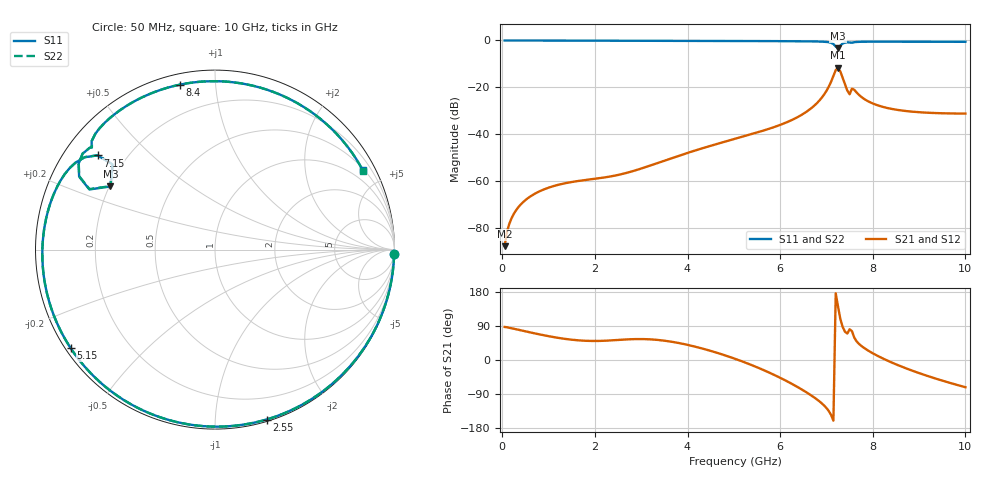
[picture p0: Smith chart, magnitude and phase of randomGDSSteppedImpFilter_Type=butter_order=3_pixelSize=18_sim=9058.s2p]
! freq	dB(S11)	phase(S11)	dB(S12)	phase(S12)
!  dB(S21)	phase(S21)	dB(S22)	phase(S22)
!S-par simulation data
#  GHz  S  DB  R 50
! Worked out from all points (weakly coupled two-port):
!   200 points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, 50 MHz to 10 GHz, reference 50 ohm
!   highest |S21| = -11.68 dB at 7.25 GHz (marker M1); lowest = -87.9 dB at 50 MHz (marker M2)
!   lowest |S11| = -3.3 dB at 7.25 GHz (marker M3), VSWR 5.26, Z = 10.2 + j13.4 ohm
!   |S11| at or under -10 dB: nowhere
!   |S22| runs from -3.3 to 0.0 dB; largest |S21 - S12| = 0
!   S11 on the Smith chart (normalised r, x): 50 MHz: 5, -80; 2.55 GHz: 0.02, -1.35; 5.15 GHz: 0.01, -0.31; 7.15 GHz: 0.10, +0.35; 8.4 GHz: 0.05, +0.81; 10 GHz: 0.56, +3.91
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0.05  -0.01 -1.4  -87.87 87.2  -87.87 87.2  -0.01 -1.4
0.1  -0.02 -2.9  -81.90 86.4  -81.90 86.4  -0.02 -2.9
0.35  -0.02 -10.3  -71.15 79.7  -71.15 79.7  -0.02 -10.3
0.65  -0.03 -19.0  -66.07 71.5  -66.07 71.5  -0.03 -19.0
1.75  -0.06 -50.7  -59.73 51.0  -59.73 51.0  -0.06 -50.7
2.55  -0.09 -73.1  -57.23 53.3  -57.23 53.3  -0.09 -73.2
3.4  -0.13 -96.6  -52.03 52.4  -52.03 52.4  -0.13 -96.7
5.05  -0.22 -142.7  -41.89 2.1  -41.89 2.1  -0.22 -142.8
5.15  -0.23 -145.7  -41.34 -2.3  -41.34 -2.3  -0.23 -145.7
6.15  -0.33 -176.5  -34.89 -56.2  -34.89 -56.2  -0.33 -176.5
6.7  -0.42 164.1  -28.49 -95.8  -28.49 -95.8  -0.42 164.0
6.95  -0.57 153.3  -23.08 -120.2  -23.08 -120.2  -0.57 153.3
7.15  -1.53 141.3  -15.17 -160.1  -15.17 -160.1  -1.53 141.2
7.25  -3.34 148.9  -11.68 141.0  -11.68 141.0  -3.33 148.8
7.35  -1.32 151.8  -15.95 87.2  -15.95 87.2  -1.32 151.6
7.5  -0.92 141.0  -23.00 81.2  -23.00 81.2  -0.92 140.8
7.55  -0.99 140.4  -20.59 76.3  -20.59 76.3  -1.00 140.3
7.9  -0.54 124.2  -26.00 24.8  -26.00 24.8  -0.54 124.1
8.35  -0.54 104.2  -29.01 -3.4  -29.01 -3.4  -0.54 104.0
8.4  -0.54 101.9  -29.21 -6.1  -29.21 -6.1  -0.54 101.8
9.15  -0.57 67.5  -30.84 -40.8  -30.84 -40.8  -0.57 67.3
10  -0.59 28.2  -31.24 -71.9  -31.24 -71.9  -0.59 28.0
